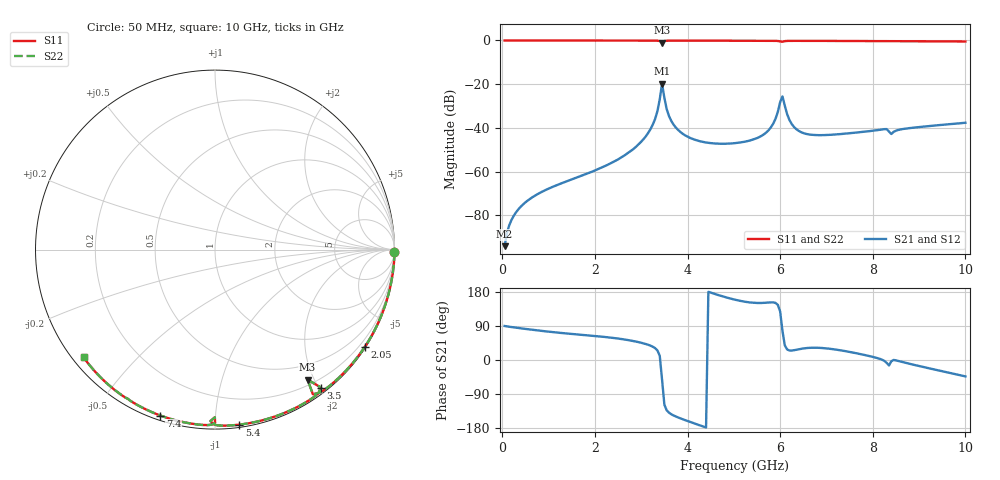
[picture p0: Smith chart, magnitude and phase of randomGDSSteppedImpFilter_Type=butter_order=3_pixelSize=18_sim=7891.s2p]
! freq	dB(S11)	phase(S11)	dB(S12)	phase(S12)
!  dB(S21)	phase(S21)	dB(S22)	phase(S22)
!S-par simulation data
#  GHz  S  DB  R 50
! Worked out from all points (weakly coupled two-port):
!   200 points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, 50 MHz to 10 GHz, reference 50 ohm
!   highest |S21| = -19.77 dB at 3.45 GHz (marker M1); lowest = -94.2 dB at 50 MHz (marker M2)
!   lowest |S11| = -1.0 dB at 3.45 GHz (marker M3), VSWR 16.95, Z = 13.9 - j95.4 ohm
!   |S11| at or under -10 dB: nowhere
!   |S22| runs from -1.0 to 0.0 dB; largest |S21 - S12| = 0
!   S11 on the Smith chart (normalised r, x): 50 MHz: open; 2.05 GHz: 0.03, -3.39; 3.5 GHz: 0.08, -2.03; 5.4 GHz: 0.02, -1.15; 7.4 GHz: 0.02, -0.72; 10 GHz: 0.03, -0.36
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0.05  -0.00 -0.8  -94.19 89.7  -94.19 89.7  -0.00 -0.8
0.25  -0.00 -4.1  -80.18 86.1  -80.18 86.1  -0.00 -4.1
0.75  -0.01 -12.2  -70.50 78.3  -70.50 78.3  -0.01 -12.2
1.75  -0.04 -28.2  -61.63 66.0  -61.63 66.0  -0.04 -28.2
2.05  -0.04 -32.9  -59.09 62.7  -59.09 62.7  -0.04 -32.9
3.05  -0.07 -48.6  -45.18 43.9  -45.18 43.9  -0.07 -48.6
3.25  -0.08 -52.0  -38.52 35.0  -38.52 35.0  -0.08 -51.9
3.4  -0.24 -55.9  -26.94 11.2  -26.94 11.2  -0.24 -55.9
3.45  -1.03 -54.5  -19.77 -51.8  -19.77 -51.8  -1.03 -54.5
3.5  -0.27 -52.5  -26.30 -118.0  -26.30 -118.0  -0.27 -52.4
3.65  -0.09 -56.4  -36.88 -143.2  -36.88 -143.2  -0.09 -56.4
3.95  -0.09 -61.3  -43.47 -158.8  -43.47 -158.8  -0.09 -61.3
5.05  -0.12 -77.2  -46.95 158.4  -46.95 158.4  -0.12 -77.2
5.4  -0.13 -82.1  -45.46 151.3  -45.46 151.3  -0.13 -82.1
5.8  -0.16 -87.9  -39.79 152.1  -39.79 152.1  -0.16 -87.9
6.05  -0.59 -90.1  -25.61 76.8  -25.61 76.8  -0.59 -90.0
6.15  -0.22 -91.1  -33.71 27.9  -33.71 27.9  -0.22 -91.0
6.3  -0.18 -93.6  -39.62 25.8  -39.62 25.8  -0.18 -93.6
6.7  -0.19 -99.1  -43.22 32.4  -43.22 32.4  -0.19 -99.1
7.4  -0.24 -108.2  -42.68 23.6  -42.68 23.6  -0.24 -108.2
8.35  -0.33 -120.2  -41.73 -14.4  -41.73 -14.4  -0.33 -120.2
10  -0.47 -140.6  -37.69 -43.3  -37.69 -43.3  -0.47 -140.6
